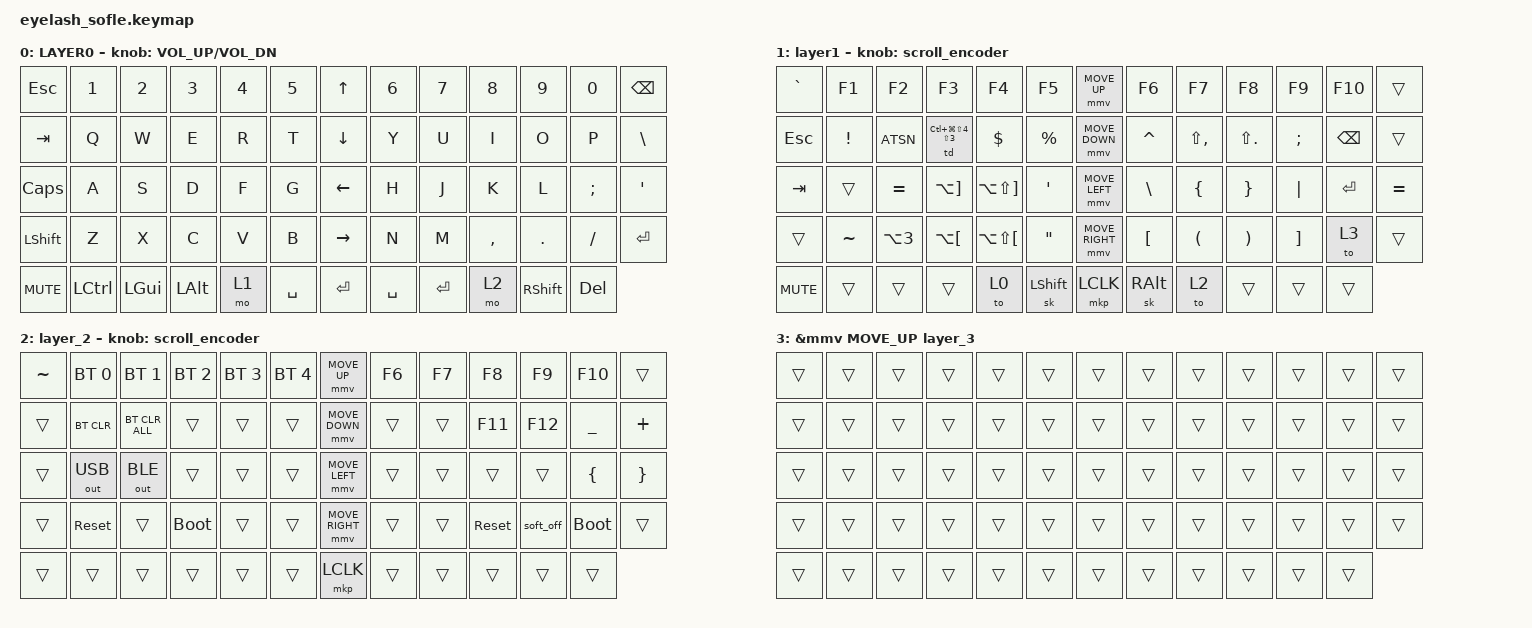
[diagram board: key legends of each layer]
#define ZMK_POINTING_DEFAULT_MOVE_VAL 1200  // 600
#define ZMK_POINTING_DEFAULT_SCRL_VAL 35    // 10
#include <input/processors.dtsi>
#include <behaviors.dtsi>
#include <dt-bindings/zmk/bt.h>
#include <dt-bindings/zmk/keys.h>
#include <dt-bindings/zmk/outputs.h>
#include <dt-bindings/zmk/pointing.h>
#include <dt-bindings/zmk/rgb.h>
#include <zephyr/dt-bindings/input/input-event-codes.h>

/ {
  zip_scroll_scaler: zip_scroll_scaler {
    compatible = "zmk,input-processor-scaler";
    #input-processor-cells = <2>;
    type = <INPUT_EV_REL>;
    codes = <INPUT_REL_WHEEL INPUT_REL_HWHEEL>;
    track-remainders;
  };
};

&mmv_input_listener {
       input-processors = <&zip_xy_scaler 2 1>;
};

&msc_input_listener {
       input-processors = <&zip_scroll_scaler 2 1>;
};

&msc {
    acceleration-exponent = <0>;      // 0
    time-to-max-speed-ms = <0>;       // 300
    delay-ms = <0>;                   // 0
};

&mmv {
    time-to-max-speed-ms = <400>;
    acceleration-exponent = <1>;
};


/ {

    scroll_encoder: scroll_encoder {
        compatible = "zmk,behavior-sensor-rotate";
        #sensor-binding-cells = <0>;
        bindings = <&msc SCRL_DOWN>, <&msc SCRL_UP>;
        tap-ms = <30>;
    };

    keymap {
        compatible = "zmk,keymap";

        layer0 {
            bindings = <
&kp ESC     &kp N1     &kp N2        &kp N3        &kp N4  &kp N5       &kp UP_ARROW     &kp N6     &kp N7     &kp N8     &kp N9           &kp N0      &kp BACKSPACE
&kp TAB     &kp Q      &kp W         &kp E         &kp R   &kp T        &kp DOWN_ARROW   &kp Y      &kp U      &kp I      &kp O            &kp P       &kp BSLH
&kp CAPS    &kp A      &kp S         &kp D         &kp F   &kp G        &kp LEFT_ARROW   &kp H      &kp J      &kp K      &kp L            &kp SEMI    &kp APOS
&kp LSHFT   &kp Z      &kp X         &kp C         &kp V   &kp B        &kp RIGHT_ARROW  &kp N      &kp M      &kp COMMA  &kp DOT          &kp FSLH    &kp ENTER
&kp C_MUTE  &kp LCTRL  &kp LEFT_GUI  &kp LEFT_ALT  &mo 1   &kp SPACE    &kp ENTER        &kp SPACE  &kp ENTER  &mo 2      &kp RIGHT_SHIFT  &kp DELETE
            >;

            sensor-bindings = <&inc_dec_kp C_VOLUME_UP C_VOL_DN>;
            display-name = "LAYER0";
        };

        layer_1 {
            bindings = <
&kp GRAVE   &kp F1           &kp F2          &kp F3                    &kp F4           &kp F5             &mmv MOVE_UP     &kp F6           &kp F7           &kp F8      &kp F9     &kp F10           &trans
&kp ESC     &kp EXCL         &kp ATSN        &td LC(LG(LS(N4))) LS(N3) &kp DLLR         &kp PRCNT          &mmv MOVE_DOWN   &kp CARET        &kp LS(COMMA)    &kp LS(DOT) &kp SEMI   &kp BKSP          &trans
&kp TAB     &trans           &kp EQUAL       &kp LA(RBKT)              &kp LA(LS(RBKT)) &kp SQT            &mmv MOVE_LEFT   &kp BSLH         &kp LBRC         &kp RBRC    &kp PIPE   &kp ENTER         &kp EQUAL
&trans      &kp TILDE        &kp LA(N3)      &kp LA(LBKT)              &kp LA(LS(LBKT)) &kp DQT            &mmv MOVE_RIGHT  &kp LBKT         &kp LPRN         &kp RPRN    &kp RBKT   &to 3             &trans
&kp C_MUTE  &trans           &trans          &trans                    &to 0            &sk LSHIFT         &mkp LCLK        &sk RALT         &to 2            &trans      &trans     &trans
            >;

            display-name = "layer1";
            sensor-bindings = <&scroll_encoder>;
        };

// &trans      &kp GRAVE        &mkp LCLK       &mkp MCLK                 &mkp RCLK        &mkp MB4           &mmv MOVE_DOWN   &kp PG_UP        &kp END          &kp UP      &kp HOME   &kp MINUS         &kp EQUAL
// &trans      &kp TILDE        &trans          &trans                    &trans           &mkp MB5           &mmv MOVE_LEFT   &kp PG_DN        &kp LEFT         &kp DOWN    &kp RIGHT  &kp LEFT_BRACKET  &kp RIGHT_BRACKET
// &trans      &rgb_ug RGB_OFF  &rgb_ug RGB_ON  &rgb_ug RGB_EFF           &rgb_ug RGB_EFR  &rgb_ug RGB_SPI    &mmv MOVE_RIGHT  &rgb_ug RGB_BRI  &rgb_ug RGB_BRD  &kp INSERT  &kp F11    &kp F12           &trans
// &kp C_MUTE  &trans           &trans          &trans                    &trans           &trans             &mkp LCLK        &trans           &trans           &trans      &trans     &trans

        layer_2 {
            bindings = <
&kp TILDE  &bt BT_SEL 0  &bt BT_SEL 1    &bt BT_SEL 2  &bt BT_SEL 3  &bt BT_SEL 4    &mmv MOVE_UP     &kp F6  &kp F7  &kp F8      &kp F9     &kp F10      &trans
&trans     &bt BT_CLR    &bt BT_CLR_ALL  &trans        &trans        &trans          &mmv MOVE_DOWN   &trans  &trans  &kp F11     &kp F12    &kp UNDER    &kp PLUS
&trans     &out OUT_USB  &out OUT_BLE    &trans        &trans        &trans          &mmv MOVE_LEFT   &trans  &trans  &trans      &trans     &kp LBRC     &kp RBRC
&trans     &sys_reset    &trans          &bootloader   &trans        &trans          &mmv MOVE_RIGHT  &trans  &trans  &sys_reset  &soft_off  &bootloader  &trans
&trans     &trans        &trans          &trans        &trans        &trans          &mkp LCLK        &trans  &trans  &trans      &trans     &trans
            >;

            sensor-bindings = <&scroll_encoder>;
        };
                                                                          &mmv MOVE_UP           
// &trans  &kp ESC  &kp C_PP     &kp C_PREV    &kp C_NEXT    &kp LS(MINUS)   &mmv MOVE_DOWN    &kp MINUS  &kp N7 &kp N8 &kp N9 &trans       &trans
// &trans  &kp TAB  &trans       &kp C_VOL_DN  &kp C_VOL_UP  &kp LS(EQUAL)   &mmv MOVE_LEFT    &kp EQUAL  &kp N4 &kp N5 &kp N6 &kp ENTER    &trans
// &trans  &to 4    &kp AMPS     &kp SLASH     &kp STAR      &kp DOT         &mmv MOVE_RIGHT   &kp N0     &kp N1 &kp N2 &kp N3 &trans       &trans
// &trans  &trans   &trans       &trans        &to 0         &sk LGUI        &mkp LCLK         &sk RALT   &to 2  &trans &trans &trans       &trans

        layer_3 {
            bindings = <
&trans  &trans  &trans  &trans  &trans  &trans    &trans  &trans  &trans  &trans  &trans  &trans  &trans
&trans  &trans  &trans  &trans  &trans  &trans    &trans  &trans  &trans  &trans  &trans  &trans  &trans
&trans  &trans  &trans  &trans  &trans  &trans    &trans  &trans  &trans  &trans  &trans  &trans  &trans
&trans  &trans  &trans  &trans  &trans  &trans    &trans  &trans  &trans  &trans  &trans  &trans  &trans
&trans  &trans  &trans  &trans  &trans  &trans    &trans  &trans  &trans  &trans  &trans  &trans
            >;
        };

// &trans  &trans              &mwh SCROLL_LEFT    &mmv MOVE_UP    &mwh SCROLL_RIGHT &kp NUM_5  &trans &kp LG(LBKT)   &kp LC(LS(TAB))   &kp RC(TAB)   &kp LG(RBKT) &trans
// &trans  &kp F1              &mmv MOVE_LEFT      &mmv MOVE_DOWN  &mmv MOVE_RIGHT   &kp DEL    &trans &kp LEFT       &kp DOWN          &kp UP        &kp RIGHT    &kp ENTER 
// &trans  &td LG(GRAVE) GRAVE &mkp RCLK           &mwh SCROLL_UP  &mwh SCROLL_DOWN  &trans     &trans &mkp LCLK      &kp PG_DN         &kp K_VOL_DN  &trans       &trans   
// &trans  &trans              &trans              &trans          &to 0             &trans     &trans &sk RALT &to 1 
    };                                                                                 
};
